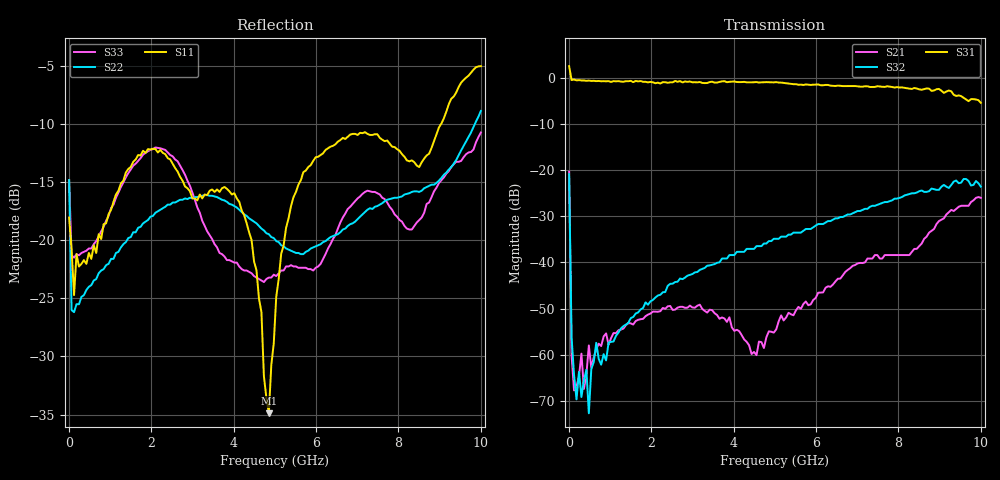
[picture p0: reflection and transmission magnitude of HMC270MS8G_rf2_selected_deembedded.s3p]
!Hittite Microwave Corporation
!12 Elizabeth Drive
!Chelmsford, MA 01824
!Tel: 978-250-3343
!Fax: 978-250-3373
!Device: HMC270MS8G, DC-8 GHz GaAS MMIC SPDT non-reflective switch in 8-lead MSOP grounded base package
!Misc: Port1 = RFCom, Port2 = RF1, Port3 = RF2, RF1 selected, Vctl=-5V
# MHZ S MA R 50
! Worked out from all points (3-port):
!   168 points, 10 MHz to 10 GHz, reference 50 ohm
!   strongest paths, dB at 10 MHz, 2.522 GHz, 5.035 GHz, 7.547 GHz, 10 GHz:
!     S31: 2.5, -1.0, -1.0, -1.9, -5.4
!     S32: -20.9, -44.6, -34.9, -27.3, -23.6
!     S21: -20.4, -50.3, -54.5, -39.2, -26.0
!   lowest |S11| = -34.9 dB at 4.855 GHz (marker M1), VSWR 1.04, Z = 49.6 - j1.75 ohm
!   |S11| at or under -10 dB: start of sweep to 9.039 GHz
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10  0.125 -90.0  0.066 103.3  1.028 149.2
    0.096 -174.5  0.181 137.7  0.077 135.5
    1.333 -158.4  0.09 147.7  0.181 149.9
69.82  0.091 -5.7  0.001061 146.6  0.956 -1.1
       0.0009735 -41.0  0.05 0.4  0.0013 45.5
       0.943 -0.8  0.001541 -66.3  0.086 10.2
249.281  0.077 20.9  0.0005513 94.6  0.94 -2.5
         0.0005853 37.8  0.053 15.0  3.838e-05 32.8
         0.941 -2.4  0.0006511 69.6  0.086 12.0
309.102  0.079 5.0  0.0007733 155.8  0.943 -2.9
         0.001027 104.1  0.057 17.5  0.0005107 0.3
         0.934 -3.1  0.0003482 118.4  0.088 13.3
488.563  0.088 22.9  0.0009585 76.6  0.932 -3.9
         0.001259 105.9  0.063 26.5  0.001012 102.3
         0.931 -3.5  0.0002319 111.5  0.092 22.1
668.024  0.088 27.2  0.00131 83.5  0.927 -4.4
         0.001145 78.9  0.068 32.9  0.0007055 106.7
         0.918 -4.9  0.001346 102.8  0.099 30.6
4017.964  0.159 25.1  0.001922 111.7  0.895 -22.0
          0.001812 110.8  0.14 47.4  0.012 171.8
          0.908 -21.9  0.012 172.3  0.08 7.7
4855.449  0.018 -101.2  0.001859 -154.3  0.901 -29.1
          0.00179 -154.7  0.106 35.7  0.017 178.1
          0.894 -28.6  0.017 178.7  0.069 -44.9
5034.91  0.057 -161.7  0.001858 -144.1  0.882 -30.6
         0.001879 -146.7  0.099 32.0  0.018 179.4
         0.896 -30.4  0.018 -179.3  0.07 -60.6
10000  0.559 131.4  0.058 -67.1  0.617 -92.4
       0.05 -59.2  0.359 -22.0  0.071 150.9
       0.534 -86.1  0.066 142.4  0.29 53.3
